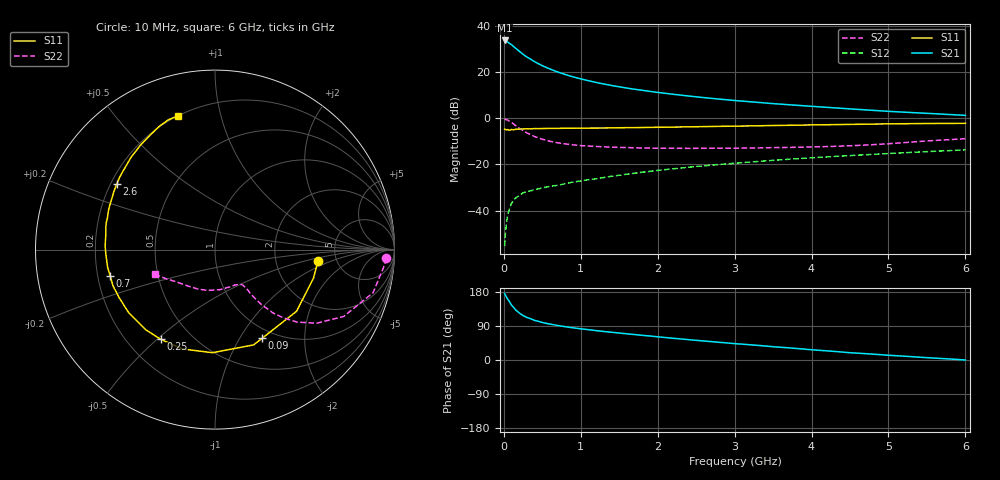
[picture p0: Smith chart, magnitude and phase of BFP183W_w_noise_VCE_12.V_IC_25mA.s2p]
! Infineon Technologies  Discrete & RF Semiconductors
! BFP183W
! VCE =  12. V,  IC =  25 mA
! Common Emitter S-Parameters:  Jan 2017
# GHz  S  MA  R  50
!  f  S11  S21  S12  S22
! GHz  MAG  ANG  MAG  ANG  MAG  ANG  MAG  ANG
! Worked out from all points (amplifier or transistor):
!   77 points, 10 MHz to 6 GHz, reference 50 ohm
!   highest |S21| = 33.6 dB at 10 MHz (marker M1)
!   |S21| within 3 dB of that: start of sweep to 140.1 MHz
!   unconditionally stable (mu >= 1): 1.176 GHz to 3.62 GHz
!   at 130 MHz: K = 0.28, MSG = 33.2 dB, |S12| = -35.5 dB
!   at 2.2 GHz: K = 1.07, MAG = 14.6 dB, |S12| = -21.9 dB
!   at 6 GHz: K = 0.86, MSG = 7.5 dB, |S12| = -13.7 dB
!   lowest NFmin = 1.29 dB at 450 MHz
!   S11 on the Smith chart (normalised r, x): 10 MHz: 3.59, -0.69; 90 MHz: 0.87, -1.26; 250 MHz: 0.34, -0.51; 700 MHz: 0.25, -0.11; 2.6 GHz: 0.22, +0.29; 6 GHz: 0.20, +0.74
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0.01  0.5772 -6.4  48.13 175.6  0.0017 64.5  0.9566 -2.9
0.02  0.5713 -16.2  47.31 171.2  0.003 74.7  0.9442 -6.1
0.05  0.5698 -37.1  44.65 160.5  0.0079 69.1  0.9125 -15.3
0.09  0.5593 -61.9  39.85 148.2  0.013 64.3  0.8254 -24.8
0.1  0.573 -67.9  38.98 144.7  0.0143 63.6  0.8076 -27.5
0.15  0.5746 -91.4  33.02 132.9  0.0186 56.0  0.6993 -35.9
0.2  0.5826 -108.2  28.15 124.1  0.0212 52.6  0.6094 -41.5
0.25  0.5843 -121.2  24.15 117.2  0.0243 48.1  0.5366 -45.0
0.3  0.59 -130.7  21.08 112.2  0.0255 46.2  0.4791 -47.5
0.4  0.5957 -144.1  16.67 104.5  0.0284 45.7  0.4005 -49.8
0.5  0.5975 -153.5  13.64 99.0  0.031 46.4  0.3502 -50.7
0.6  0.603 -160.5  11.58 94.7  0.0335 46.9  0.3167 -51.1
0.7  0.6027 -166.1  10 91.1  0.0353 49.7  0.2926 -50.9
0.9  0.6066 -174.8  7.834 84.9  0.0415 51.9  0.2651 -51.4
1.1  0.6116 178.9  6.471 80.0  0.0466 54.6  0.2498 -52.2
1.5  0.621 168.2  4.773 71.1  0.0581 56.6  0.2335 -56.1
2.1  0.6385 155.4  3.451 59.3  0.0772 57.8  0.2235 -66.5
2.6  0.6578 146.4  2.787 50.1  0.0932 57.0  0.2231 -78.0
3.1  0.6763 138.3  2.343 41.8  0.1091 55.3  0.2252 -90.3
4.1  0.7186 124.1  1.762 25.6  0.1421 50.7  0.2408 -115.8
5.1  0.7564 113.3  1.379 11.3  0.1752 45.2  0.2877 -142.3
6  0.7738 105.3  1.152 0.1  0.2065 39.3  0.3608 -157.5
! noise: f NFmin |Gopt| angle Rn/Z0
0.45  1.29  0.25  177  0.1
0.9  1.32  0.28  180  0.09
1.9  1.8  0.43  -158  0.09
2.4  2.04  0.48  -154  0.13
